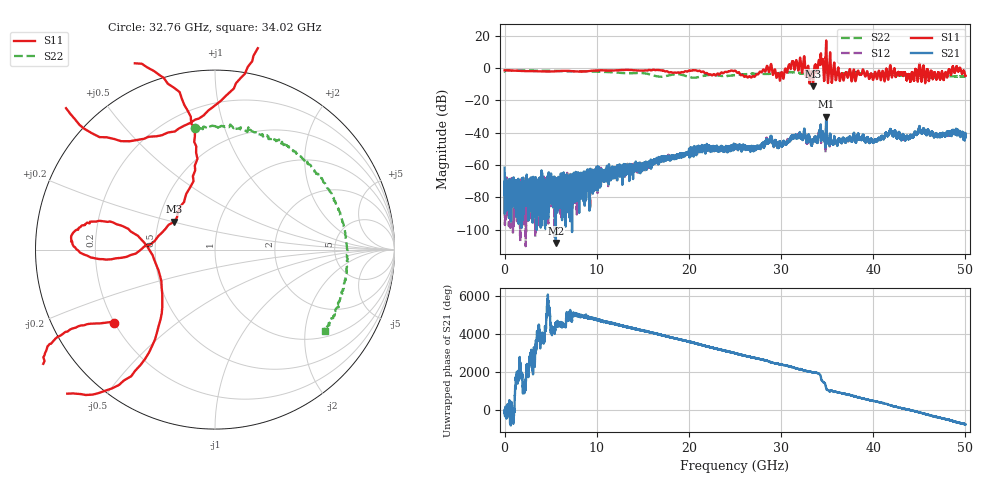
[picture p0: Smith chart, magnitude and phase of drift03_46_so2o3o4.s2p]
!Created with skrf (http://scikit-rf.org).
# Hz S RI R 50.0
!freq ReS11 ImS11 ReS21 ImS21 ReS12 ImS12 ReS22 ImS22
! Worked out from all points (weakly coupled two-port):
!   10001 points, 300 kHz to 50 GHz, reference 50 ohm
!   highest |S21| = -30.07 dB at 34.9 GHz (marker M1); lowest = -108.1 dB at 5.56 GHz (marker M2)
!   lowest |S11| = -11.2 dB at 33.47 GHz (marker M3), VSWR 1.76, Z = 30.3 + j10.1 ohm
!   |S11| at or under -10 dB: 33.44809 GHz to 33.48496 GHz (36.87 MHz wide, 0.11 % of centre)
!   |S22| runs from -5.9 to -1.3 dB; largest |S21 - S12| = 0.0068
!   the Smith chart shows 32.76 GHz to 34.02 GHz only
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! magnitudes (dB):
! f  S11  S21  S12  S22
! 300 kHz  -1.3  -61.6  -69.4  -2.0
! 255.3 MHz  -1.3  -77.1  -74.1  -1.4
! 505.3 MHz  -1.4  -86.7  -73.3  -1.5
! 5.56 GHz  -1.9  -108.1  -71.1  -1.7
! 8.335 GHz  -2.2  -66.9  -76.3  -1.9
! 16.67 GHz  -1.1  -57.3  -57.0  -5.2
! 25 GHz  -1.5  -48.3  -47.3  -4.2
! 26.92 GHz  -4.9  -48.6  -49.3  -3.5
! 28.73 GHz  -2.2  -45.5  -45.4  -3.5
! 30.06 GHz  -2.5  -47.0  -47.1  -2.8
! 31.87 GHz  -1.4  -42.2  -41.6  -2.9
! 33.34 GHz  -2.2  -47.3  -47.1  -2.9
! 33.47 GHz  -11.2  -45.4  -45.0  -2.8
! 34.3 GHz  7.3  -35.9  -35.3  -2.3
! 34.9 GHz  17.2  -30.1  -31.9  -2.4
! 36.58 GHz  -3.4  -45.8  -46.3  -3.6
! 40.18 GHz  -2.4  -44.1  -44.1  -3.7
! 41.67 GHz  -5.5  -40.5  -40.5  -3.6
! 43.84 GHz  -3.8  -43.9  -43.4  -3.8
! 45.2 GHz  -6.1  -38.7  -39.2  -4.5
! 49.21 GHz  -2.0  -40.0  -39.5  -5.2
! 50 GHz  -4.8  -42.7  -41.5  -5.0
